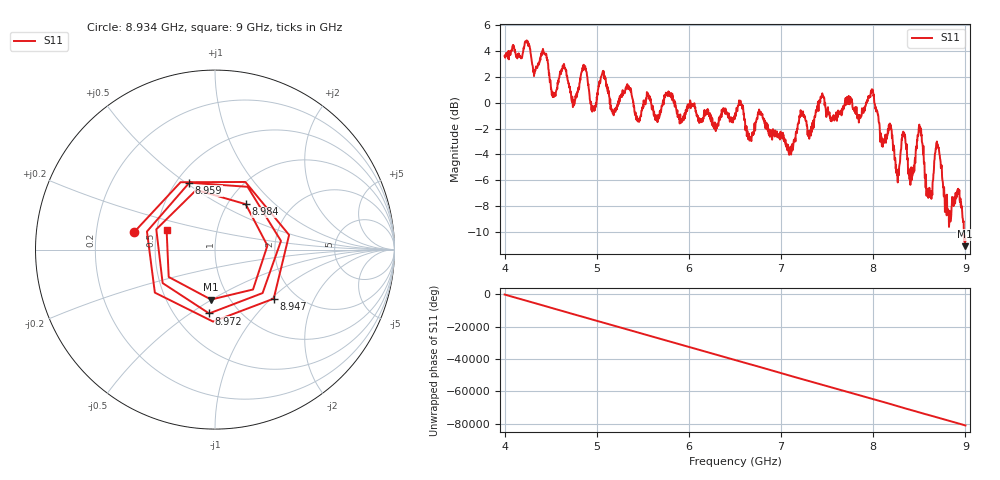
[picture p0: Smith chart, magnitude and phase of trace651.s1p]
! Created with skrf 1.8.0 (http://scikit-rf.org).
# Hz S RI R 50.0
!freq ReS11 ImS11
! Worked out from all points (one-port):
!   1601 points, 4 GHz to 9 GHz, reference 50 ohm
!   lowest |S11| = -11.1 dB at 8.994 GHz (marker M1), VSWR 1.77, Z = 41.1 - j24.8 ohm
!   |S11| at or under -10 dB: 8.983208 GHz to end of sweep
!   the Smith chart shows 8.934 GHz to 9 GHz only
!   S11 on the Smith chart (normalised r, x): 8.934 GHz: 0.37, +0.09; 8.947 GHz: 1.55, -1.04; 8.959 GHz: 0.58, +0.52; 8.972 GHz: 0.73, -0.60; 8.984 GHz: 1.21, +0.67; 9 GHz: 0.56, +0.14
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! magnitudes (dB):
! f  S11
! 4 GHz  3.6
! 4.431 GHz  3.7
! 4.534 GHz  0.6
! 4.625 GHz  2.5
! 4.747 GHz  -0.2
! 4.862 GHz  2.7
! 4.956 GHz  -0.4
! 5.069 GHz  2.3
! 5.25 GHz  0.5
! 5.875 GHz  -0.6
! 6.5 GHz  -0.8
! 7.125 GHz  -3.6
! 7.75 GHz  0.3
! 7.988 GHz  1.0
! 8.256 GHz  -5.2
! 8.331 GHz  -2.6
! 8.375 GHz  -4.3
! 8.506 GHz  -2.0
! 8.6 GHz  -7.1
! 8.694 GHz  -3.4
! 8.819 GHz  -8.3
! 8.934 GHz  -6.8
! 8.947 GHz  -7.4
! 8.959 GHz  -8.0
! 8.972 GHz  -8.9
! 8.984 GHz  -10.3
! 8.994 GHz  -11.1
! 9 GHz  -10.7
